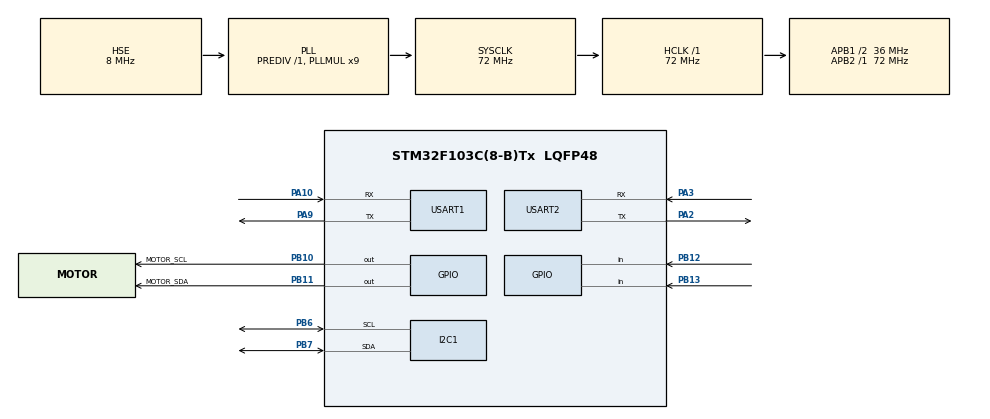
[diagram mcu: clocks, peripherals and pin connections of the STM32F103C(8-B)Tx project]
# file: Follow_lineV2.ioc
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Mcu.Family=STM32F1
Mcu.Name=STM32F103C(8-B)Tx
Mcu.Package=LQFP48
NVIC.PriorityGroup=NVIC_PRIORITYGROUP_4
NVIC.USART1_IRQn=true\:0\:0\:false\:false\:true\:true\:true\:true
PA10.Mode=Asynchronous
PA10.Signal=USART1_RX
PA13.Mode=Serial_Wire
PA13.Signal=SYS_JTMS-SWDIO
PA14.Mode=Serial_Wire
PA14.Signal=SYS_JTCK-SWCLK
PA2.Mode=Asynchronous
PA2.Signal=USART2_TX
PA3.Mode=Asynchronous
PA3.Signal=USART2_RX
PA9.Mode=Asynchronous
PA9.Signal=USART1_TX
PB10.GPIO_Label=MOTOR_SCL
PB10.PinState=GPIO_PIN_SET
PB10.Signal=GPIO_Output
PB11.GPIO_Label=MOTOR_SDA
PB11.PinState=GPIO_PIN_SET
PB11.Signal=GPIO_Output
PB12.GPIO_PuPd=GPIO_PULLUP
PB12.Signal=GPIO_Input
PB13.GPIO_PuPd=GPIO_PULLUP
PB13.Signal=GPIO_Input
PB6.Mode=I2C
PB6.Signal=I2C1_SCL
PB7.Mode=I2C
PB7.Signal=I2C1_SDA
PD0-OSC_IN.Mode=HSE-External-Oscillator
PD0-OSC_IN.Signal=RCC_OSC_IN
PD1-OSC_OUT.Mode=HSE-External-Oscillator
PD1-OSC_OUT.Signal=RCC_OSC_OUT
ProjectManager.HeapSize=0x200
ProjectManager.StackSize=0x400
ProjectManager.TargetToolchain=CMake
RCC.AHBFreq_Value=72000000
RCC.APB1CLKDivider=RCC_HCLK_DIV2
RCC.APB1Freq_Value=36000000
RCC.APB1TimFreq_Value=72000000
RCC.APB2Freq_Value=72000000
RCC.APB2TimFreq_Value=72000000
RCC.HCLKFreq_Value=72000000
RCC.PLLMUL=RCC_PLL_MUL9
RCC.PLLSourceVirtual=RCC_PLLSOURCE_HSE
RCC.SYSCLKFreq_VALUE=72000000
RCC.SYSCLKSource=RCC_SYSCLKSOURCE_PLLCLK
RCC.USBFreq_Value=72000000
USART1.VirtualMode=VM_ASYNC
USART2.VirtualMode=VM_ASYNC
board=custom

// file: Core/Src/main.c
/* USER CODE BEGIN Header */
/**
  ******************************************************************************
  * @file           : main.c
  * @brief          : Main program body
  ******************************************************************************
  * @attention
  *
  * Copyright (c) 2026 STMicroelectronics.
  * All rights reserved.
  *
  * This software is licensed under terms that can be found in the LICENSE file
  * in the root directory of this software component.
  * If no LICENSE file comes with this software, it is provided AS-IS.
  *
  ******************************************************************************
  */
/* USER CODE END Header */
#include "main.h"

/* USER CODE BEGIN Includes */
#include "delay_dwt.h"
#include "ir_line8.h"
#include "line_follow.h"
#include "motion_car.h"
#include "motor_driver.h"
#include "f302_radar_uart.h"
#include "u8g2.h"
#include <stdio.h>
#include <string.h>
/* USER CODE END Includes */

/* USER CODE BEGIN PD */
#define UI_STEP_MS            50U
#define OLED_I2C_ADDR        0x3CU

#define SUPPRESS_MS          2500U   /* ignore PB12 for this window after any turn */
#define RADAR_MODE_TIMEOUT_MS 5000U   /* quit RADAR_MODE if no all_black */
#define STOP_DURATION_MS     3000U   /* stop & poll radar for 3s */
#define STARTUP_IGNORE_MS    2000U   /* ignore PB12 for first 2s after power-on */
#define LED_BLINK_MS         3000U   /* PA6 LED blinks for this long */
#define AVOID_TIMEOUT_MS    15000U   /* max avoid duration */
#define RADAR_DIST_THRESH_CM   60U   /* max valid obstacle range */
#define RADAR_ANGLE_LIMIT     6000   /* ±60 deg in 0.01deg units */
/* USER CODE END PD */

I2C_HandleTypeDef hi2c1;

UART_HandleTypeDef huart1;
UART_HandleTypeDef huart2;

/* USER CODE BEGIN PV */
static uint32_t s_ui_last_tick;
static u8g2_t s_u8g2;

/* ---- state machine ---- */
static uint8_t         s_avoid_active;
static uint32_t        s_avoid_tick;
static LineFollow_Mode s_pre_mode;       /* saved mode before entering avoid */

static uint8_t         s_radar_mode;      /* 1 = RADAR_MODE, waiting for all_black */
static uint32_t        s_radar_mode_tick; /* entry tick for 5s timeout */

static uint8_t         s_stop_active;     /* 1 = STOP_1S, car halted reading radar */
static uint32_t        s_stop_tick;       /* entry tick for 1s duration */
static uint8_t         s_stop_has_target; /* 1 = saw at least one valid target */
static int16_t         s_stop_angle;      /* last valid angle during stop (-60..+60 deg * 100) */

static uint8_t         s_pb12_prev;       /* previous PB12 for rising-edge detect */
/* USER CODE END PV */

void SystemClock_Config(void);
static void MX_GPIO_Init(void);
static void MX_I2C1_Init(void);
static void MX_USART1_UART_Init(void);
static void MX_USART2_UART_Init(void);
/* USER CODE BEGIN PFP */
static void UI_DrawSensorScreen(void);
static void UI_DrawRadarScreen(void);
/* USER CODE END PFP */

/* USER CODE BEGIN 0 */
/* ---- radar polar coordinate helpers (same as before) ---- */
#define RADAR_CX 64
#define RADAR_CY 50
#define RADAR_R  28
#define RADAR_TARGET_R 40
#define RADAR_RANGE_MAX 300

static const int16_t SIN256[121] = {
	-222, -219, -217, -215, -212, -210, -207, -204, -202, -199, -196, -193, -190, -187,
	-184, -181, -178, -175, -171, -168, -165, -161, -158, -154, -150, -147, -143, -139,
	-136, -132, -128, -124, -120, -116, -112, -108, -104, -100, -96,  -92,  -88,  -83,
	-79,  -75,  -71,  -66,  -62,  -58,  -53,  -49,  -44,  -40,  -36,  -31,  -27,  -22,
	-18,  -13,  -9,   -4,   0,
	4,    9,    13,   18,   22,   27,   31,   36,   40,   44,   49,   53,   58,   62,
	66,   71,   75,   79,   83,   88,   92,   96,   100,  104,  108,  112,  116,  120,
	124,  128,  132,  136,  139,  143,  147,  150,  154,  158,  161,  165,  168,  171,
	175,  178,  181,  184,  187,  190,  193,  196,  199,  202,  204,  207,  210,  212,
	215,  217,  219,  222,
};
static const int16_t COS256[121] = {
	128, 132, 136, 139, 143, 147, 150, 154, 158, 161, 165, 168, 171, 175, 178, 181, 184,
	187, 190, 193, 196, 199, 202, 204, 207, 210, 212, 215, 217, 219, 222, 224, 226, 228,
	230, 232, 234, 236, 237, 239, 241, 242, 243, 245, 246, 247, 248, 249, 250, 251, 252,
	253, 254, 254, 255, 255, 255, 256, 256, 256, 256, 256, 256, 256, 255, 255, 255, 254,
	254, 253, 252, 251, 250, 249, 248, 247, 246, 245, 243, 242, 241, 239, 237, 236, 234,
	232, 230, 228, 226, 224, 222, 219, 217, 215, 212, 210, 207, 204, 202, 199, 196, 193,
	190, 187, 184, 181, 178, 175, 171, 168, 165, 161, 158, 154, 150, 147, 143, 139, 136,
	132, 128,
};

static void radar_polar(int16_t deg, int16_t r_px, int16_t *dx, int16_t *dy)
{
	int idx = (int)deg + 60;
	if (idx < 0)  idx = 0;
	if (idx > 120) idx = 120;
	*dx = (int16_t)((r_px * SIN256[idx]) / 256);
	*dy = (int16_t)(-(r_px * COS256[idx]) / 256);
}

/* ---- u8g2 HAL callbacks ---- */
uint8_t u8x8_gpio_and_delay(u8x8_t *u8x8, uint8_t msg, uint8_t arg_int, void *arg_ptr)
{
	(void)u8x8; (void)arg_ptr;
	switch (msg) {
	case U8X8_MSG_DELAY_MILLI:
		HAL_Delay(arg_int);
		break;
	case U8X8_MSG_GPIO_AND_DELAY_INIT:
	case U8X8_MSG_DELAY_10MICRO:
	case U8X8_MSG_GPIO_RESET:
		break;
	default: return 0;
	}
	return 1;
}

uint8_t u8x8_byte_hw_i2c(u8x8_t *u8x8, uint8_t msg, uint8_t arg_int, void *arg_ptr)
{
	(void)u8x8;
	static uint8_t buf[128];
	static uint8_t idx;

	switch (msg) {
	case U8X8_MSG_BYTE_START_TRANSFER:
		idx = 0U;
		break;
	case U8X8_MSG_BYTE_SEND:
		memcpy(buf + idx, arg_ptr, arg_int);
		idx = (uint8_t)(idx + arg_int);
		break;
	case U8X8_MSG_BYTE_END_TRANSFER:
		HAL_I2C_Master_Transmit(&hi2c1, (uint16_t)(OLED_I2C_ADDR << 1U),
					buf, idx, 100U);
		break;
	case U8X8_MSG_BYTE_INIT:
	case U8X8_MSG_BYTE_SET_DC:
		break;
	default: return 0;
	}
	return 1;
}

/* ---- OLED: sensor dashboard (NORMAL mode) ---- */
static void UI_DrawSensorScreen(void)
{
	char buf[32];
	uint8_t i;

	u8g2_ClearBuffer(&s_u8g2);

	/* Title */
	u8g2_SetFont(&s_u8g2, u8g2_font_helvB08_tr);
	u8g2_DrawStr(&s_u8g2, 24, 10, "GRAY SENSOR");

	/* 8 indicator blocks: S8 leftmost → S1 rightmost */
	for (i = 0; i < 8; i++) {
		uint8_t x = (uint8_t)(1U + (7U - i) * 16U);
		if (IR_Line8_Value[i] == 0U)
			u8g2_DrawBox(&s_u8g2, x, 18, 14, 22);
		else
			u8g2_DrawFrame(&s_u8g2, x, 18, 14, 22);
	}

	/* S1-S8 labels */
	u8g2_SetFont(&s_u8g2, u8g2_font_6x10_tr);
	for (i = 0; i < 8; i++) {
		buf[0] = 'S'; buf[1] = (char)('1' + i); buf[2] = '\0';
		u8g2_DrawStr(&s_u8g2, (uint8_t)(3U + (7U - i) * 16U), 50, buf);
	}

	/* Status line: current mode + suppressed indicator */
	{
		uint32_t now = HAL_GetTick();
		uint32_t lt = LineFollow_GetLastTurnTick();
		uint8_t  suppressed = (lt != 0U && (uint32_t)(now - lt) < SUPPRESS_MS);
		LineFollow_Mode m = LineFollow_GetMode();

		if (suppressed) {
			uint32_t remain = SUPPRESS_MS - (uint32_t)(now - lt);
			snprintf(buf, sizeof(buf), "%s SU%lu.%lus",
				 (m == MODE_RIGHT) ? "R" : "L",
				 (unsigned long)(remain / 1000U),
				 (unsigned long)((remain / 100U) % 10U));
		} else {
			snprintf(buf, sizeof(buf), "FOLLOW %s",
				 (m == MODE_RIGHT) ? "R" : "L");
		}
	}
	u8g2_DrawStr(&s_u8g2, 0, 62, buf);

	u8g2_SendBuffer(&s_u8g2);
}

/* ---- OLED: radar mode (RADAR_MODE / STOP_1S / AVOID) ---- */
static void UI_DrawRadarScreen(void)
{
	f302_target_t rd;
	uint8_t linked = F302_Radar_IsLinked();
	char buf[32];
	uint32_t now = HAL_GetTick();
	int16_t fan_deg[] = { -60, -40, -20, 0, 20, 40, 60 };
	uint8_t i;

	u8g2_ClearBuffer(&s_u8g2);

	/* top info: distance + angle */
	u8g2_SetFont(&s_u8g2, u8g2_font_6x10_tr);
	if (!linked) {
		u8g2_DrawStr(&s_u8g2, 0, 10, "F302 WAIT");
	} else {
		F302_Radar_GetTarget(&rd);
		if (rd.have_target) {
			snprintf(buf, sizeof(buf), "R %u.%02um",
				 (unsigned)(rd.range_0p01m / 100),
				 (unsigned)(rd.range_0p01m % 100));
			u8g2_DrawStr(&s_u8g2, 0, 10, buf);
			snprintf(buf, sizeof(buf), "A %d",
				 (int)(rd.angle_0p01deg / 100));
			u8g2_DrawStr(&s_u8g2, 80, 10, buf);
		} else {
			u8g2_DrawStr(&s_u8g2, 0, 10, "CLEAR");
		}
	}

	/* fan rays */
	for (i = 0; i < 7; i++) {
		int16_t dx, dy;
		radar_polar(fan_deg[i], RADAR_R, &dx, &dy);
		u8g2_DrawLine(&s_u8g2, RADAR_CX, RADAR_CY,
			      (u8g2_uint_t)(RADAR_CX + dx),
			      (u8g2_uint_t)(RADAR_CY + dy));
	}

	/* 3 concentric circles */
	u8g2_DrawCircle(&s_u8g2, RADAR_CX, RADAR_CY,  9, U8G2_DRAW_ALL);
	u8g2_DrawCircle(&s_u8g2, RADAR_CX, RADAR_CY, 19, U8G2_DRAW_ALL);
	u8g2_DrawCircle(&s_u8g2, RADAR_CX, RADAR_CY, 28, U8G2_DRAW_ALL);

	/* center dot */
	u8g2_DrawBox(&s_u8g2, RADAR_CX - 1, RADAR_CY - 1, 3, 3);

	/* target */
	if (linked) {
		F302_Radar_GetTarget(&rd);
		if (rd.have_target) {
			int16_t deg  = (int16_t)(rd.angle_0p01deg / 100);
			int32_t rpx  = ((int32_t)rd.range_0p01m * RADAR_TARGET_R)
				       / RADAR_RANGE_MAX;
			int16_t dx, dy;

			if (rpx < 2)  rpx = 2;
			if (rpx > RADAR_TARGET_R) rpx = RADAR_TARGET_R;
			radar_polar(deg, (int16_t)rpx, &dx, &dy);
			u8g2_uint_t tx = (u8g2_uint_t)(RADAR_CX + dx);
			u8g2_uint_t ty = (u8g2_uint_t)(RADAR_CY + dy);

			if (tx >= 2) tx -= 2; else tx = 0;
			if (ty >= 2) ty -= 2; else ty = 0;
			u8g2_DrawBox(&s_u8g2, tx, ty, 4, 4);
		}
	}

	/* status bar */
	u8g2_SetFont(&s_u8g2, u8g2_font_6x10_tr);
	if (s_stop_active) {
		uint32_t remain = STOP_DURATION_MS - (uint32_t)(now - s_stop_tick);
		snprintf(buf, sizeof(buf), "STOP %lu.%lus",
			 (unsigned long)(remain / 1000U),
			 (unsigned long)((remain / 100U) % 10U));
	} else if (s_radar_mode) {
		uint32_t remain = 0U;
		if (now < s_radar_mode_tick + RADAR_MODE_TIMEOUT_MS)
			remain = (s_radar_mode_tick + RADAR_MODE_TIMEOUT_MS - now) / 1000U;
		snprintf(buf, sizeof(buf), "RADAR %lus", (unsigned long)remain);
	} else if (s_avoid_active) {
		uint32_t remain = 0U;
		if (now < s_avoid_tick + AVOID_TIMEOUT_MS)
			remain = (s_avoid_tick + AVOID_TIMEOUT_MS - now) / 1000U;
		LineFollow_Mode m = LineFollow_GetMode();
		snprintf(buf, sizeof(buf), "AVOID %c %lus",
			 (m == MODE_RIGHT) ? 'R' : 'L',
			 (unsigned long)remain);
	} else {
		snprintf(buf, sizeof(buf), "FOLLOW");
	}
	u8g2_DrawStr(&s_u8g2, 0, 62, buf);

	u8g2_SendBuffer(&s_u8g2);
}
/* USER CODE END 0 */

int main(void)
{

  /* MCU Configuration--------------------------------------------------------*/

  /* Reset of all peripherals, Initializes the Flash interface and the Systick. */
  HAL_Init();

  /* Configure the system clock */
  SystemClock_Config();

  /* Initialize all configured peripherals */
  MX_GPIO_Init();
  MX_I2C1_Init();
  MX_USART1_UART_Init();
  MX_USART2_UART_Init();
  /* USER CODE BEGIN 2 */
  delay_init();
  IR_Line8_Init();
  IIC_Motor_Init();
  Set_Motor(2);
  u8g2_Setup_ssd1306_i2c_128x64_noname_f(&s_u8g2, U8G2_R0,
      u8x8_byte_hw_i2c, u8x8_gpio_and_delay);
  u8g2_InitDisplay(&s_u8g2);
  u8g2_SetPowerSave(&s_u8g2, 0);
  F302_Radar_Init(&huart1);

  /* init state machine */
  s_avoid_active  = 0U;
  s_radar_mode    = 0U;
  s_stop_active   = 0U;
  s_stop_has_target = 0U;
  s_pb12_prev     = 0U;

  s_ui_last_tick = HAL_GetTick();
  /* USER CODE END 2 */

  /* Infinite loop */
  while (1)
  {

    /* USER CODE BEGIN 3 */
    IR_Line8_PollRx();
    F302_Radar_Poll();

    uint32_t now = HAL_GetTick();

    /* ---- all_black: 8 sensors on black line ---- */
    uint8_t all_black = 1U;
    for (uint8_t i = 0U; i < 8U; i++) {
      if (IR_Line8_Value[i] != 0U) { all_black = 0U; break; }
    }

    /* ---- PB12: camera T-junction signal ---- */
    uint8_t pb12       = (HAL_GPIO_ReadPin(GPIOB, GPIO_PIN_12) == GPIO_PIN_SET) ? 1U : 0U;
    uint8_t pb12_rise  = (pb12 == 1U && s_pb12_prev == 0U) ? 1U : 0U;
    s_pb12_prev = pb12;

    /* ---- suppressed: window after any left/right turn ---- */
    uint32_t last_turn = LineFollow_GetLastTurnTick();
    uint8_t suppressed = (last_turn != 0U && (uint32_t)(now - last_turn) < SUPPRESS_MS);

    /* ---- PA6 LED: blink 200ms on/off for first LED_BLINK_MS of RADAR_MODE ---- */
    if (s_radar_mode) {
      uint32_t led_elapsed = (uint32_t)(now - s_radar_mode_tick);
      if (led_elapsed < LED_BLINK_MS) {
        HAL_GPIO_WritePin(GPIOA, GPIO_PIN_6,
            ((led_elapsed / 200U) % 2U == 0U) ? GPIO_PIN_SET : GPIO_PIN_RESET);
      } else {
        HAL_GPIO_WritePin(GPIOA, GPIO_PIN_6, GPIO_PIN_RESET);
      }
    } else {
      HAL_GPIO_WritePin(GPIOA, GPIO_PIN_6, GPIO_PIN_RESET);
    }

    /* ================================================================
     *  STATE MACHINE
     * ================================================================ */
    if (s_stop_active) {
      /* ── STOP_1S: car halted, poll radar (top of loop already polled) ── */

      f302_target_t rd;
      F302_Radar_GetTarget(&rd);
      if (rd.have_target
          && rd.range_0p01m <= (uint16_t)RADAR_DIST_THRESH_CM
          && rd.angle_0p01deg >= -RADAR_ANGLE_LIMIT
          && rd.angle_0p01deg <=  RADAR_ANGLE_LIMIT) {
        s_stop_has_target = 1U;
        s_stop_angle = rd.angle_0p01deg;
      }

      if ((uint32_t)(now - s_stop_tick) >= STOP_DURATION_MS) {
        s_stop_active = 0U;
        if (s_stop_has_target) {
          /* obstacle detected → enter AVOID */
          if (s_stop_angle < 0) {
            LineFollow_SetMode(MODE_RIGHT);   /* obstacle left → go right */
          } else {
            LineFollow_SetMode(MODE_LEFT);    /* obstacle right → go left */
          }
          s_avoid_active = 1U;
          s_avoid_tick   = now;
        }
        /* else: no target → back to NORMAL, keep original mode */
      }

    } else if (s_avoid_active) {
      /* ── AVOID: line-walk with avoid direction ── */
      LineWalking();
      if ((uint32_t)(now - s_avoid_tick) >= AVOID_TIMEOUT_MS) {
        LineFollow_SetMode(s_pre_mode);
        s_avoid_active = 0U;
      }

    } else if (s_radar_mode) {
      /* ── RADAR_MODE: wait for all_black or timeout ── */
      LineWalking();
      if (!pb12) {
        /* camera lost T-junction before all_black → back to NORMAL */
        s_radar_mode = 0U;
      } else if (all_black) {
        /* all_black trigger → stop and read radar */
        s_radar_mode = 0U;
        Motion_Car_Control(0, 0, 0);
        s_stop_active     = 1U;
        s_stop_tick       = now;
        s_stop_has_target = 0U;
      } else if ((uint32_t)(now - s_radar_mode_tick) >= RADAR_MODE_TIMEOUT_MS) {
        /* 5s timeout → back to NORMAL */
        s_radar_mode = 0U;
      }

    } else {
      /* ── NORMAL: line-walk, wait for camera T-junction ── */
      LineWalking();
      if (pb12_rise && !suppressed && now >= STARTUP_IGNORE_MS) {
        s_radar_mode      = 1U;
        s_radar_mode_tick = now;
        s_pre_mode        = LineFollow_GetMode();
      }
    }

    /* ---- UI refresh ---- */
    if ((uint32_t)(now - s_ui_last_tick) >= UI_STEP_MS) {
      s_ui_last_tick = now;
      if (s_avoid_active || s_stop_active) {
        UI_DrawRadarScreen();
      } else {
        UI_DrawSensorScreen();
      }
    }
  }
  /* USER CODE END 3 */
}

void SystemClock_Config(void)
{
  RCC_OscInitTypeDef RCC_OscInitStruct = {0};
  RCC_ClkInitTypeDef RCC_ClkInitStruct = {0};

  /** Initializes the RCC Oscillators according to the specified parameters
  * in the RCC_OscInitTypeDef structure.
  */
  RCC_OscInitStruct.OscillatorType = RCC_OSCILLATORTYPE_HSE;
  RCC_OscInitStruct.HSEState = RCC_HSE_ON;
  RCC_OscInitStruct.HSEPredivValue = RCC_HSE_PREDIV_DIV1;
  RCC_OscInitStruct.HSIState = RCC_HSI_ON;
  RCC_OscInitStruct.PLL.PLLState = RCC_PLL_ON;
  RCC_OscInitStruct.PLL.PLLSource = RCC_PLLSOURCE_HSE;
  RCC_OscInitStruct.PLL.PLLMUL = RCC_PLL_MUL9;
  if (HAL_RCC_OscConfig(&RCC_OscInitStruct) != HAL_OK)
  {
    Error_Handler();
  }

  /** Initializes the CPU, AHB and APB buses clocks
  */
  RCC_ClkInitStruct.ClockType = RCC_CLOCKTYPE_HCLK|RCC_CLOCKTYPE_SYSCLK
                              |RCC_CLOCKTYPE_PCLK1|RCC_CLOCKTYPE_PCLK2;
  RCC_ClkInitStruct.SYSCLKSource = RCC_SYSCLKSOURCE_PLLCLK;
  RCC_ClkInitStruct.AHBCLKDivider = RCC_SYSCLK_DIV1;
  RCC_ClkInitStruct.APB1CLKDivider = RCC_HCLK_DIV2;
  RCC_ClkInitStruct.APB2CLKDivider = RCC_HCLK_DIV1;

  if (HAL_RCC_ClockConfig(&RCC_ClkInitStruct, FLASH_LATENCY_2) != HAL_OK)
  {
    Error_Handler();
  }
}

static void MX_I2C1_Init(void)
{

  hi2c1.Instance = I2C1;
  hi2c1.Init.ClockSpeed = 400000;
  hi2c1.Init.DutyCycle = I2C_DUTYCYCLE_2;
  hi2c1.Init.OwnAddress1 = 0;
  hi2c1.Init.AddressingMode = I2C_ADDRESSINGMODE_7BIT;
  hi2c1.Init.DualAddressMode = I2C_DUALADDRESS_DISABLE;
  hi2c1.Init.OwnAddress2 = 0;
  hi2c1.Init.GeneralCallMode = I2C_GENERALCALL_DISABLE;
  hi2c1.Init.NoStretchMode = I2C_NOSTRETCH_DISABLE;
  if (HAL_I2C_Init(&hi2c1) != HAL_OK)
  {
    Error_Handler();
  }

}

static void MX_USART1_UART_Init(void)
{

  huart1.Instance = USART1;
  huart1.Init.BaudRate = 115200;
  huart1.Init.WordLength = UART_WORDLENGTH_8B;
  huart1.Init.StopBits = UART_STOPBITS_1;
  huart1.Init.Parity = UART_PARITY_NONE;
  huart1.Init.Mode = UART_MODE_TX_RX;
  huart1.Init.HwFlowCtl = UART_HWCONTROL_NONE;
  huart1.Init.OverSampling = UART_OVERSAMPLING_16;
  if (HAL_UART_Init(&huart1) != HAL_OK)
  {
    Error_Handler();
  }

}

static void MX_USART2_UART_Init(void)
{

  huart2.Instance = USART2;
  huart2.Init.BaudRate = 115200;
  huart2.Init.WordLength = UART_WORDLENGTH_8B;
  huart2.Init.StopBits = UART_STOPBITS_1;
  huart2.Init.Parity = UART_PARITY_NONE;
  huart2.Init.Mode = UART_MODE_TX_RX;
  huart2.Init.HwFlowCtl = UART_HWCONTROL_NONE;
  huart2.Init.OverSampling = UART_OVERSAMPLING_16;
  if (HAL_UART_Init(&huart2) != HAL_OK)
  {
    Error_Handler();
  }

}

static void MX_GPIO_Init(void)
{
  GPIO_InitTypeDef GPIO_InitStruct = {0};

  /* GPIO Ports Clock Enable */
  __HAL_RCC_GPIOD_CLK_ENABLE();
  __HAL_RCC_GPIOA_CLK_ENABLE();
  __HAL_RCC_GPIOB_CLK_ENABLE();

  /*Configure GPIO pin Output Level */
  HAL_GPIO_WritePin(GPIOB, MOTOR_SCL_Pin|MOTOR_SDA_Pin, GPIO_PIN_SET);

  /*Configure GPIO pins : MOTOR_SCL_Pin MOTOR_SDA_Pin */
  GPIO_InitStruct.Pin = MOTOR_SCL_Pin|MOTOR_SDA_Pin;
  GPIO_InitStruct.Mode = GPIO_MODE_OUTPUT_PP;
  GPIO_InitStruct.Pull = GPIO_NOPULL;
  GPIO_InitStruct.Speed = GPIO_SPEED_FREQ_LOW;
  HAL_GPIO_Init(GPIOB, &GPIO_InitStruct);

  /*Configure GPIO pins : PB12 PB13 */
  GPIO_InitStruct.Pin = GPIO_PIN_12|GPIO_PIN_13;
  GPIO_InitStruct.Mode = GPIO_MODE_INPUT;
  GPIO_InitStruct.Pull = GPIO_PULLUP;
  HAL_GPIO_Init(GPIOB, &GPIO_InitStruct);

  /* USER CODE BEGIN MX_GPIO_Init_2 */

  /* PA6: LED indicator, push-pull output, default low */
  GPIO_InitStruct.Pin = GPIO_PIN_6;
  GPIO_InitStruct.Mode = GPIO_MODE_OUTPUT_PP;
  GPIO_InitStruct.Pull = GPIO_NOPULL;
  GPIO_InitStruct.Speed = GPIO_SPEED_FREQ_LOW;
  HAL_GPIO_Init(GPIOA, &GPIO_InitStruct);
  HAL_GPIO_WritePin(GPIOA, GPIO_PIN_6, GPIO_PIN_RESET);

  /* USER CODE END MX_GPIO_Init_2 */
}

void Error_Handler(void)
{
  __disable_irq();
  while (1)
  {
  }
}
